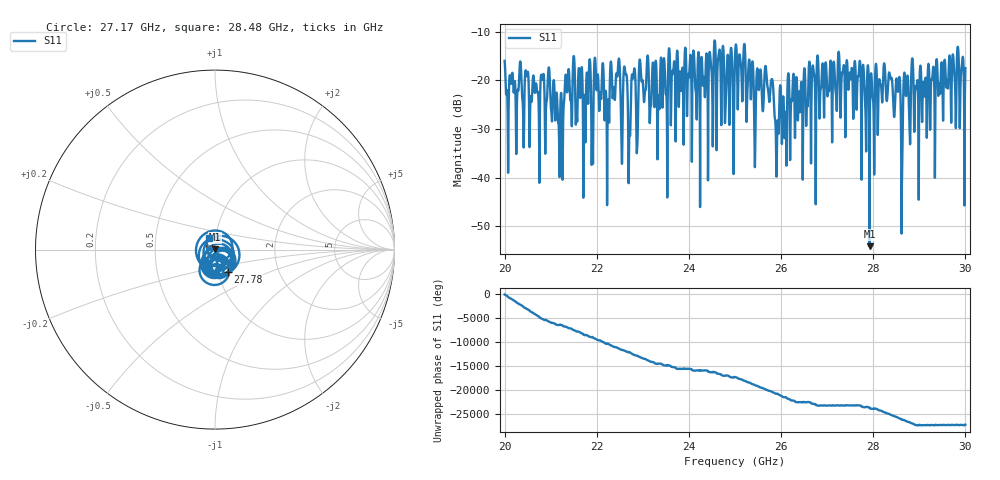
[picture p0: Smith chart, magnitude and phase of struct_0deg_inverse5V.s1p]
#  HZ  S  RI  R  50.00
! Rohde & Schwarz ZVA40 4Ports - Version 3.90 - 1145.1110k42 SN: 100403
! Date: 2023-09-30 05:11:29
! Measurement: S22
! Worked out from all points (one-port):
!   5001 points, 20 GHz to 30 GHz, reference 50 ohm
!   lowest |S11| = -54.1 dB at 27.92 GHz (marker M1), VSWR 1.00, Z = 49.9 + j0.17 ohm
!   |S11| at or under -10 dB: start of sweep to end of sweep
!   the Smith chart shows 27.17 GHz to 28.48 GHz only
!   S11 on the Smith chart (normalised r, x): 27.17 GHz: 0.90, -0.15; 27.78 GHz: 1.11, -0.28; 28.48 GHz: 0.92, +0.12
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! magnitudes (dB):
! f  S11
! 20 GHz  -16.0
! 20.06 GHz  -25.4
! 20.82 GHz  -19.9
! 21.25 GHz  -31.3
! 21.36 GHz  -22.2
! 21.73 GHz  -23.1
! 21.82 GHz  -21.1
! 21.9 GHz  -30.6
! 21.99 GHz  -20.6
! 22.22 GHz  -34.8
! 22.5 GHz  -17.6
! 22.62 GHz  -18.6
! 22.71 GHz  -31.1
! 22.79 GHz  -19.3
! 22.87 GHz  -34.4
! 22.96 GHz  -18.1
! 23.75 GHz  -14.1
! 25 GHz  -15.3
! 25.68 GHz  -18.4
! 25.91 GHz  -36.1
! 26.25 GHz  -21.7
! 27.17 GHz  -20.7
! 27.5 GHz  -19.1
! 27.78 GHz  -16.9
! 27.92 GHz  -54.1
! 28.48 GHz  -22.8
! 28.75 GHz  -19.3
! 30 GHz  -17.5
